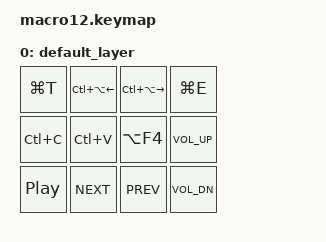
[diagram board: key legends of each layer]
#include <behaviors.dtsi>
#include <dt-bindings/zmk/keys.h>

/ {
    keymap {
        compatible = "zmk,keymap";
        default_layer {
            bindings = <
                &kp LG(T)      &kp LC(LA(LEFT)) &kp LC(LA(RIGHT)) &kp LG(E)
                &kp LC(C)      &kp LC(V)        &kp LA(F4)         &kp C_VOL_UP
                &kp C_PP       &kp C_NEXT       &kp C_PREV         &kp C_VOL_DN
            >;
        };
    };
};
